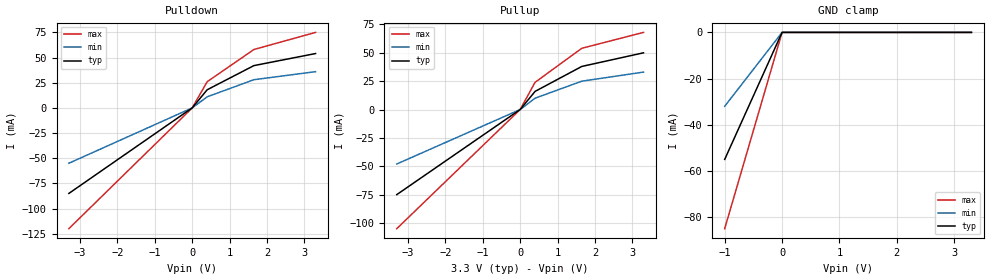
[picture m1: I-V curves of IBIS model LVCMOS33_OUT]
[IBIS Ver] 3.2
[File Name] lvcmos33.ibs
[File Rev] 1.0
[Date] November 24, 2026
[Component] LVCMOS33_BUFFER
[Manufacturer] Ansatz Semiconductor
[Package]
| variable   typ   min   max
R_pkg   0.1400   0.0800   0.2200
L_pkg   2.800nH   1.400nH   4.500nH
C_pkg   1.100pF   0.600pF   1.800pF
[Pin] signal_name model_name R_pin L_pin C_pin
1   VDD   POWER
2   VSS   GND
3   TX_OUT   LVCMOS33_OUT
4   RX_IN   LVCMOS33_IN
[Model] LVCMOS33_IN
Model_type Input
C_comp 1.4pF 1.0pF 1.9pF
[Voltage Range] 3.3V 3.0V 3.6V
Vinl = 0.8V
Vinh = 2.0V
| Models and submodels in the file (2): LVCMOS33_OUT (Output), LVCMOS33_IN (Input)
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[Model] LVCMOS33_OUT
Model_type Output
Polarity Non-Inverting
C_comp 2.4pF 1.8pF 3.1pF
[Voltage Range] 3.3V 3.0V 3.6V
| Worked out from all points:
|   slope of the pulldown table from 0 to 0.495 V, typ, clamps not added: 25 ohm
[Pulldown]
| Voltage   I(typ)   I(min)   I(max)
-3.3V     -85mA      -55mA      -120mA
0V        0A         0A         0A
400mV     18mA       11mA       26mA
1.65V     42mA       28mA       58mA
3.3V      54mA       36mA       75mA
[Pullup]
| Voltage   I(typ)   I(min)   I(max)
-3.3V     -75mA      -48mA      -105mA
0V        0A         0A         0A
400mV     16mA       10mA       24mA
1.65V     38mA       25mA       54mA
3.3V      50mA       33mA       68mA
[GND Clamp]
-1V       -55mA      -32mA      -85mA
0V        0A         0A         0A
3.3V      0A         0A         0A
[Ramp]
dV/dt_r 1.3V/0.75ns 0.95V/0.95ns 1.6V/0.55ns
dV/dt_f 1.3V/0.75ns 0.95V/0.95ns 1.6V/0.55ns
R_load 50
